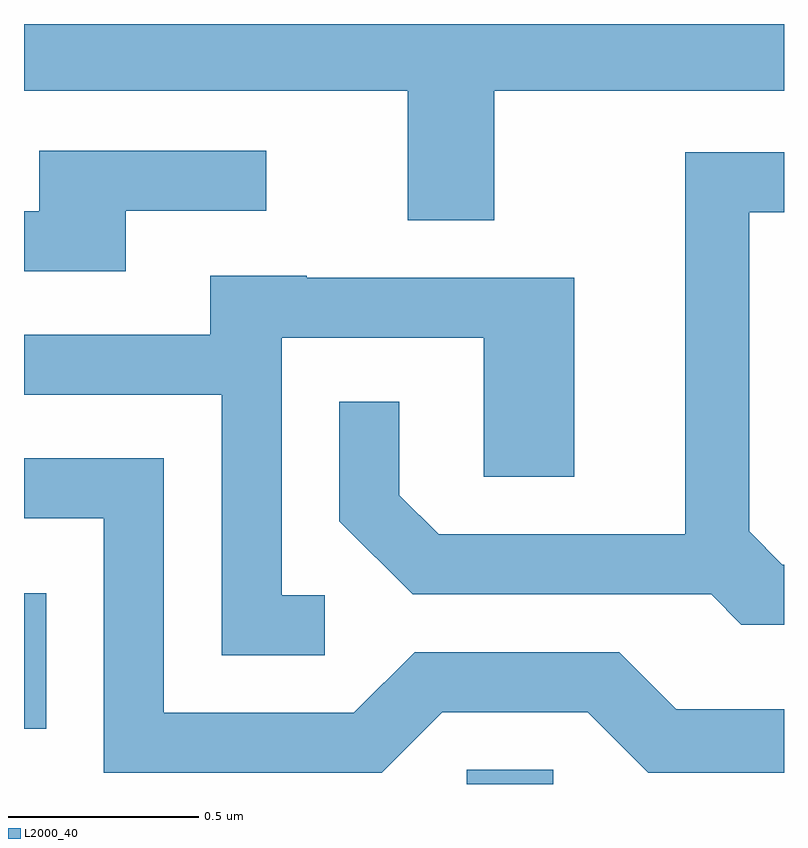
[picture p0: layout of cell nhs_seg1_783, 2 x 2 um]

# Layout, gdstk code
import gdstk
lib = gdstk.Library(unit=1e-6, precision=1e-09)
def R(c, l, rs):  # rectangles x0, y0, x1, y1
    for r in rs: c.add(gdstk.rectangle(r[:2], r[2:], *l))
def P(c, l, *ps):  # polygons
    for p in ps: c.add(gdstk.Polygon(p, *l))
L2000_40 = (2000, 40)

nhs_seg1_783 = lib.new_cell('nhs_seg1_783')
R(nhs_seg1_783, L2000_40, [(191.776,937.712,192.004,937.749), (190.611,937.858,190.669,938.214)])
P(nhs_seg1_783, L2000_40, [(191.849,939.536),(192.611,939.536),(192.611,939.712),(190.611,939.712),(190.611,939.536),(191.621,939.536),(191.621,939.196),(191.849,939.196)],
  [(190.879,939.221),(191.248,939.221),(191.248,939.379),(190.651,939.379),(190.651,939.219),(190.611,939.219),(190.611,939.061),(190.879,939.061)],
  [(192.611,938.289),(192.607,938.289),(192.519,938.377),(192.519,939.216),(192.611,939.216),(192.611,939.374),(192.351,939.374),(192.351,938.369),(191.702,938.369),(191.599,938.472),(191.599,938.718),(191.441,938.718),(191.441,938.404),(191.634,938.211),(192.419,938.211),(192.499,938.131),(192.611,938.131)],
  [(191.403,938.209),(191.289,938.209),(191.289,938.886),(191.821,938.886),(191.821,938.521),(192.059,938.521),(192.059,939.044),(191.355,939.044),(191.355,939.049),(191.101,939.049),(191.101,938.894),(190.611,938.894),(190.611,938.736),(191.131,938.736),(191.131,938.051),(191.403,938.051)],
  [(191.712,937.901),(192.094,937.901),(192.254,937.741),(192.611,937.741),(192.611,937.909),(192.327,937.909),(192.177,938.059),(191.639,938.059),(191.479,937.899),(190.979,937.899),(190.979,938.569),(190.611,938.569),(190.611,938.411),(190.821,938.411),(190.821,937.741),(191.552,937.741)])

lib.write_gds('nhs_seg1_783.gds')
